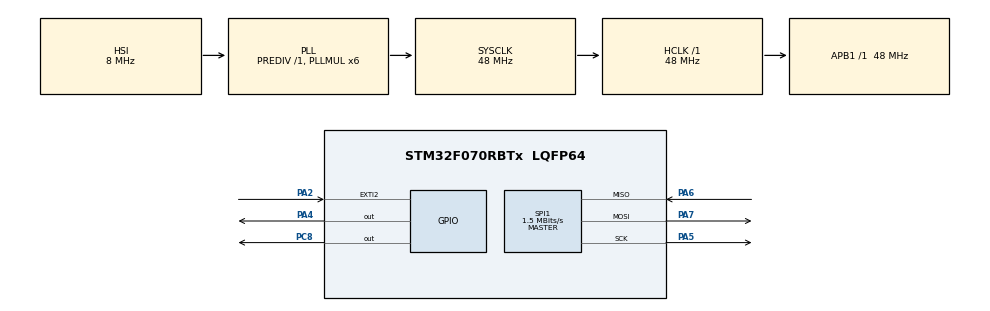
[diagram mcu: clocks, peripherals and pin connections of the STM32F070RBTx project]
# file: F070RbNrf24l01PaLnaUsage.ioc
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Mcu.Family=STM32F0
Mcu.Name=STM32F070RBTx
Mcu.Package=LQFP64
NVIC.EXTI2_3_IRQn=true\:0\:0\:false\:false\:true\:true\:true\:true
PA2.GPIO_ModeDefaultEXTI=GPIO_MODE_IT_RISING_FALLING
PA2.Signal=GPXTI2
PA4.Signal=GPIO_Output
PA5.Mode=Full_Duplex_Master
PA5.Signal=SPI1_SCK
PA6.Mode=Full_Duplex_Master
PA6.Signal=SPI1_MISO
PA7.Mode=Full_Duplex_Master
PA7.Signal=SPI1_MOSI
PC8.Signal=GPIO_Output
PF0-OSC_IN.Mode=HSE-External-Oscillator
PF0-OSC_IN.Signal=RCC_OSC_IN
PF1-OSC_OUT.Mode=HSE-External-Oscillator
PF1-OSC_OUT.Signal=RCC_OSC_OUT
ProjectManager.HeapSize=0x200
ProjectManager.StackSize=0x400
ProjectManager.TargetToolchain=STM32CubeIDE
RCC.AHBFreq_Value=48000000
RCC.APB1Freq_Value=48000000
RCC.APB1TimFreq_Value=48000000
RCC.HCLKFreq_Value=48000000
RCC.PLLMUL=RCC_PLL_MUL6
RCC.SYSCLKFreq_VALUE=48000000
RCC.SYSCLKSource=RCC_SYSCLKSOURCE_PLLCLK
SPI1.BaudRatePrescaler=SPI_BAUDRATEPRESCALER_32
SPI1.CalculateBaudRate=1.5 MBits/s
SPI1.DataSize=SPI_DATASIZE_8BIT
SPI1.Direction=SPI_DIRECTION_2LINES
SPI1.Mode=SPI_MODE_MASTER
SPI1.VirtualType=VM_MASTER
board=NUCLEO-F070RB

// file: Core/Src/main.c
/* USER CODE BEGIN Header */
/**
  ******************************************************************************
  * @file           : main.c
  * @brief          : Main program body
  ******************************************************************************
  * @attention
  *
  * Copyright (c) 2024 STMicroelectronics.
  * All rights reserved.
  *
  * This software is licensed under terms that can be found in the LICENSE file
  * in the root directory of this software component.
  * If no LICENSE file comes with this software, it is provided AS-IS.
  *
  ******************************************************************************
  */
/* USER CODE END Header */
#include "main.h"

/* USER CODE BEGIN Includes */
#include "nrf24l01p.h"
/* USER CODE END Includes */

/* USER CODE BEGIN PD */
#define TRANSMITTER
/* USER CODE END PD */

SPI_HandleTypeDef hspi1;

/* USER CODE BEGIN PV */
uint8_t rx_data[1] = {0};
uint8_t tx_data = 1;
char statuss[15];
int sayac = 0;
/* USER CODE END PV */

void SystemClock_Config(void);
static void MX_GPIO_Init(void);
static void MX_SPI1_Init(void);

int main(void)
{

  /* MCU Configuration--------------------------------------------------------*/

  /* Reset of all peripherals, Initializes the Flash interface and the Systick. */
  HAL_Init();

  /* Configure the system clock */
  SystemClock_Config();

  /* Initialize all configured peripherals */
  MX_GPIO_Init();
  MX_SPI1_Init();
  /* USER CODE BEGIN 2 */
#ifdef RECEIVER
  	nrf24l01p_rx_init(2500, _1Mbps);
#endif

 #ifdef TRANSMITTER
	nrf24l01p_tx_init(2500, _1Mbps);
	sayac++;
 #endif
  /* USER CODE END 2 */

  /* Infinite loop */
  while (1)
  {

    /* USER CODE BEGIN 3 */
#ifdef RECEIVER
	  // Nothing to do
#endif

#ifdef TRANSMITTER

	  nrf24l01p_tx_transmit(tx_data);
	  tx_data++;
	  sayac++;
	  HAL_Delay(400);
#endif

	  HAL_Delay(100);
  }
  /* USER CODE END 3 */
}

void SystemClock_Config(void)
{
  RCC_OscInitTypeDef RCC_OscInitStruct = {0};
  RCC_ClkInitTypeDef RCC_ClkInitStruct = {0};

  /** Initializes the RCC Oscillators according to the specified parameters
  * in the RCC_OscInitTypeDef structure.
  */
  RCC_OscInitStruct.OscillatorType = RCC_OSCILLATORTYPE_HSI;
  RCC_OscInitStruct.HSIState = RCC_HSI_ON;
  RCC_OscInitStruct.HSICalibrationValue = RCC_HSICALIBRATION_DEFAULT;
  RCC_OscInitStruct.PLL.PLLState = RCC_PLL_ON;
  RCC_OscInitStruct.PLL.PLLSource = RCC_PLLSOURCE_HSI;
  RCC_OscInitStruct.PLL.PLLMUL = RCC_PLL_MUL6;
  RCC_OscInitStruct.PLL.PREDIV = RCC_PREDIV_DIV1;
  if (HAL_RCC_OscConfig(&RCC_OscInitStruct) != HAL_OK)
  {
    Error_Handler();
  }

  /** Initializes the CPU, AHB and APB buses clocks
  */
  RCC_ClkInitStruct.ClockType = RCC_CLOCKTYPE_HCLK|RCC_CLOCKTYPE_SYSCLK
                              |RCC_CLOCKTYPE_PCLK1;
  RCC_ClkInitStruct.SYSCLKSource = RCC_SYSCLKSOURCE_PLLCLK;
  RCC_ClkInitStruct.AHBCLKDivider = RCC_SYSCLK_DIV1;
  RCC_ClkInitStruct.APB1CLKDivider = RCC_HCLK_DIV1;

  if (HAL_RCC_ClockConfig(&RCC_ClkInitStruct, FLASH_LATENCY_1) != HAL_OK)
  {
    Error_Handler();
  }
}

static void MX_SPI1_Init(void)
{

  /* SPI1 parameter configuration*/
  hspi1.Instance = SPI1;
  hspi1.Init.Mode = SPI_MODE_MASTER;
  hspi1.Init.Direction = SPI_DIRECTION_2LINES;
  hspi1.Init.DataSize = SPI_DATASIZE_8BIT;
  hspi1.Init.CLKPolarity = SPI_POLARITY_LOW;
  hspi1.Init.CLKPhase = SPI_PHASE_1EDGE;
  hspi1.Init.NSS = SPI_NSS_SOFT;
  hspi1.Init.BaudRatePrescaler = SPI_BAUDRATEPRESCALER_32;
  hspi1.Init.FirstBit = SPI_FIRSTBIT_MSB;
  hspi1.Init.TIMode = SPI_TIMODE_DISABLE;
  hspi1.Init.CRCCalculation = SPI_CRCCALCULATION_DISABLE;
  hspi1.Init.CRCPolynomial = 7;
  hspi1.Init.CRCLength = SPI_CRC_LENGTH_DATASIZE;
  hspi1.Init.NSSPMode = SPI_NSS_PULSE_ENABLE;
  if (HAL_SPI_Init(&hspi1) != HAL_OK)
  {
    Error_Handler();
  }

}

static void MX_GPIO_Init(void)
{
  GPIO_InitTypeDef GPIO_InitStruct = {0};

  /* GPIO Ports Clock Enable */
  __HAL_RCC_GPIOF_CLK_ENABLE();
  __HAL_RCC_GPIOA_CLK_ENABLE();
  __HAL_RCC_GPIOC_CLK_ENABLE();

  /*Configure GPIO pin Output Level */
  HAL_GPIO_WritePin(GPIOA, GPIO_PIN_4, GPIO_PIN_RESET);

  /*Configure GPIO pin Output Level */
  HAL_GPIO_WritePin(GPIOC, GPIO_PIN_8, GPIO_PIN_RESET);

  /*Configure GPIO pin : PA2 */
  GPIO_InitStruct.Pin = GPIO_PIN_2;
  GPIO_InitStruct.Mode = GPIO_MODE_IT_RISING_FALLING;
  GPIO_InitStruct.Pull = GPIO_NOPULL;
  HAL_GPIO_Init(GPIOA, &GPIO_InitStruct);

  /*Configure GPIO pin : PA4 */
  GPIO_InitStruct.Pin = GPIO_PIN_4;
  GPIO_InitStruct.Mode = GPIO_MODE_OUTPUT_PP;
  GPIO_InitStruct.Pull = GPIO_NOPULL;
  GPIO_InitStruct.Speed = GPIO_SPEED_FREQ_LOW;
  HAL_GPIO_Init(GPIOA, &GPIO_InitStruct);

  /*Configure GPIO pin : PC8 */
  GPIO_InitStruct.Pin = GPIO_PIN_8;
  GPIO_InitStruct.Mode = GPIO_MODE_OUTPUT_PP;
  GPIO_InitStruct.Pull = GPIO_NOPULL;
  GPIO_InitStruct.Speed = GPIO_SPEED_FREQ_LOW;
  HAL_GPIO_Init(GPIOC, &GPIO_InitStruct);

  /* EXTI interrupt init*/
  HAL_NVIC_SetPriority(EXTI2_3_IRQn, 0, 0);
  HAL_NVIC_EnableIRQ(EXTI2_3_IRQn);

}

/* USER CODE BEGIN 4 */
void HAL_GPIO_EXTI_Callback(uint16_t GPIO_Pin)
{
	if(GPIO_Pin == NRF24L01P_IRQ_PIN_NUMBER)
	{
#ifdef RECEIVER
	    nrf24l01p_rx_receive(rx_data);
#endif

#ifdef TRANSMITTER
		nrf24l01p_tx_irq();
#endif
	}

}
/* USER CODE END 4 */

void Error_Handler(void)
{
  __disable_irq();
  while (1)
  {
  }
}
